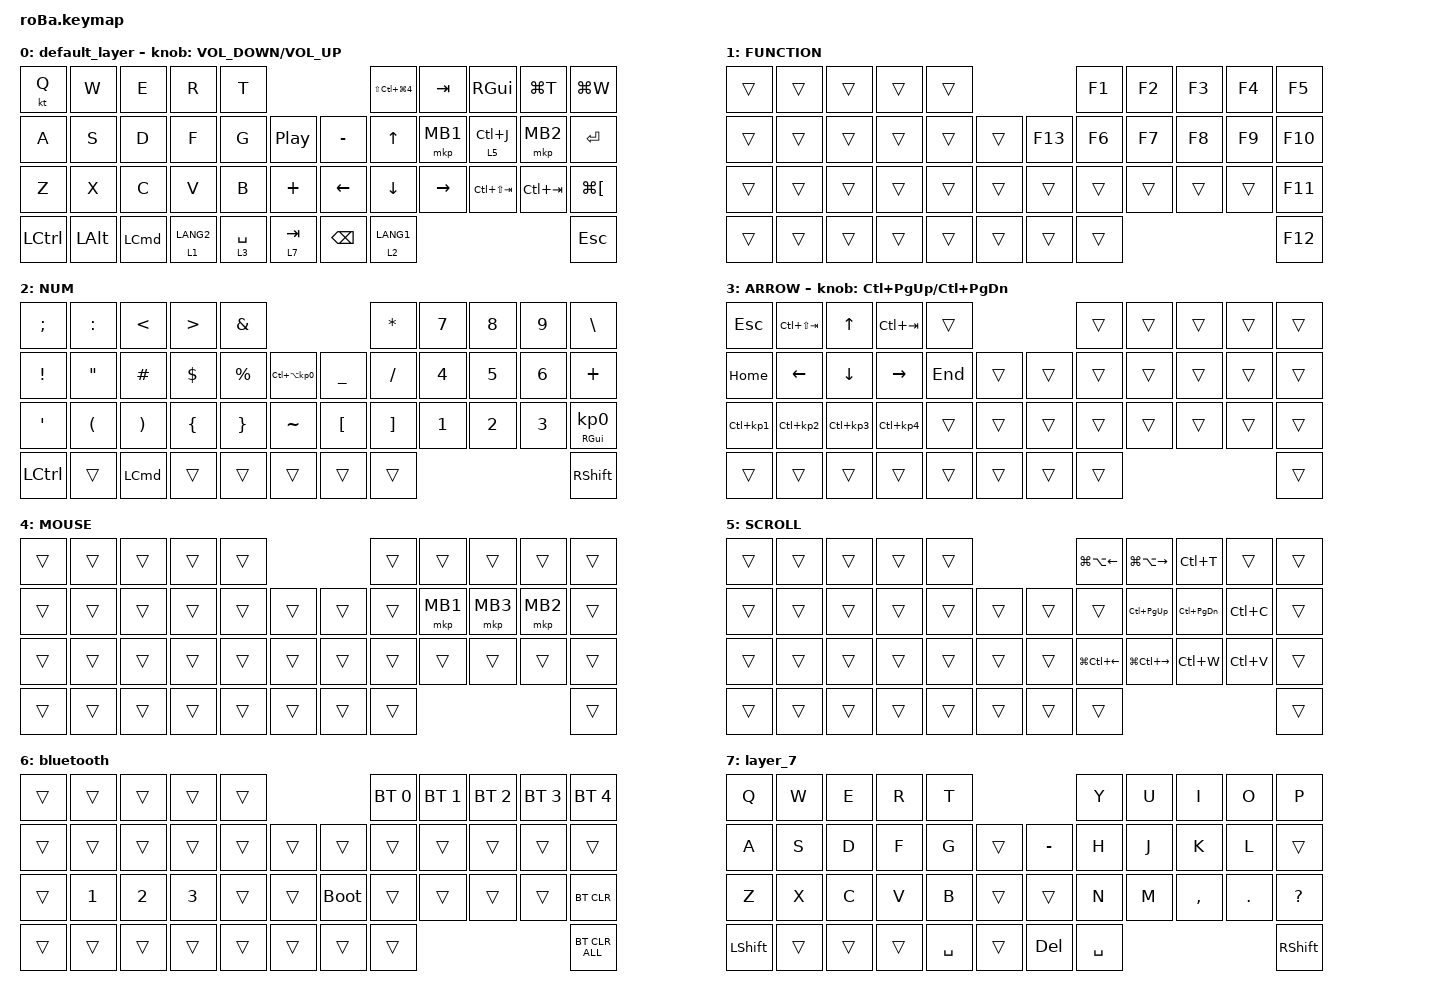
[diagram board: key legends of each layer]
#include <behaviors.dtsi>
#include <dt-bindings/zmk/bt.h>
#include <dt-bindings/zmk/keys.h>
#include <dt-bindings/zmk/pointing.h>

&mt {
    flavor = "balanced";
    quick-tap-ms = <0>;
};

&trackball {
    // automouse-layer = <4>;

    scroll-layers = <5>;

    // arrows {
    //     layers = <3>;
    //     bindings =
    //         <&kp RIGHT_ARROW>,
    //         <&kp LEFT_ARROW>,
    //         <&kp UP_ARROW>,
    //         <&kp DOWN_ARROW>;
    //     tick = <10>;
    //     wait-ms = <5>;
    //     tap-ms = <5>;
    // };
};

/ {
    combos {
        compatible = "zmk,combos";

        tab {
            bindings = <&kp TAB>;
            key-positions = <11 12>;
        };

        shift_tab {
            bindings = <&kp LS(TAB)>;
            key-positions = <12 13>;
        };

        muhennkann {
            bindings = <&to_layer_0 INT_MUHENKAN>;
            key-positions = <11 10>;
        };

        double_quotation {
            bindings = <&kp DOUBLE_QUOTES>;
            key-positions = <20 21>;
        };

        eq {
            bindings = <&kp EQUAL>;
            key-positions = <24 25>;
        };
    };

    macros {
        to_layer_0: to_layer_0 {
            compatible = "zmk,behavior-macro-one-param";
            #binding-cells = <1>;
            bindings = <&to 0 &macro_param_1to1 &kp MACRO_PLACEHOLDER>;
            label = "TO_LAYER_0";
        };
    };

    behaviors {
        lt_to_layer_0: lt_to_layer_0 {
            compatible = "zmk,behavior-hold-tap";
            label = "LAYER_TAP_TO_0";
            bindings = <&mo>, <&to_layer_0>;

            #binding-cells = <2>;
            tapping-term-ms = <200>;
        };
    };

    keymap {
        compatible = "zmk,keymap";

        default_layer {
            bindings = <
&kt Q      &kp W         &kp E             &kp R        &kp T                                                  &kp LS(LC(LG(NUMBER_4)))  &kp TAB          &kp RIGHT_GUI    &kp LG(T)    &kp LG(W)
&kp A      &kp S         &kp D             &kp F        &kp G        &kp C_PLAY_PAUSE          &kp MINUS       &kp UP_ARROW              &mkp MB1         &lt 5 LC(J)      &mkp MB2     &kp ENTER
&kp Z      &kp X         &kp C             &kp V        &kp B        &kp PLUS                  &kp LEFT_ARROW  &kp DOWN_ARROW            &kp RIGHT_ARROW  &kp LC(LS(TAB))  &kp LC(TAB)  &kp LG(LEFT_BRACKET)
&kp LCTRL  &kp LEFT_ALT  &kp LEFT_COMMAND  &lt 1 LANG2  &lt 3 SPACE  &lt_to_layer_0 7 TAB      &kp BACKSPACE   &lt 2 LANG1                                                              &kp ESC
            >;

            sensor-bindings = <&inc_dec_kp C_VOLUME_DOWN C_VOLUME_UP>;
        };

        FUNCTION {
            bindings = <
&trans  &trans  &trans  &trans  &trans                       &kp F1  &kp F2  &kp F3  &kp F4  &kp F5
&trans  &trans  &trans  &trans  &trans  &trans      &kp F13  &kp F6  &kp F7  &kp F8  &kp F9  &kp F10
&trans  &trans  &trans  &trans  &trans  &trans      &trans   &trans  &trans  &trans  &trans  &kp F11
&trans  &trans  &trans  &trans  &trans  &trans      &trans   &trans                          &kp F12
            >;
        };

        NUM {
            bindings = <
&kp SEMI          &kp COLON             &kp LESS_THAN          &kp GREATER_THAN  &kp AMPERSAND                                                   &kp ASTRK          &kp N7  &kp N8  &kp N9  &kp BACKSLASH
&kp EXCLAMATION   &kp DOUBLE_QUOTES     &kp HASH               &kp DOLLAR        &kp PERCENT      &kp LC(LA(KP_NUMBER_0))      &kp UNDERSCORE    &kp SLASH          &kp N4  &kp N5  &kp N6  &kp PLUS
&kp SQT           &kp LEFT_PARENTHESIS  &kp RIGHT_PARENTHESIS  &kp LEFT_BRACE    &kp RIGHT_BRACE  &kp TILDE                    &kp LEFT_BRACKET  &kp RIGHT_BRACKET  &kp N1  &kp N2  &kp N3  &mt RIGHT_GUI KP_N0
&kp LEFT_CONTROL  &trans                &kp LEFT_COMMAND       &trans            &trans           &trans                       &trans            &trans                                     &kp RIGHT_SHIFT
            >;
        };

        ARROW {
            bindings = <
&kp ESCAPE           &kp LC(LS(TAB))      &kp UP_ARROW         &kp LC(TAB)          &trans                       &trans  &trans  &trans  &trans  &trans
&kp HOME             &kp LEFT_ARROW       &kp DOWN_ARROW       &kp RIGHT_ARROW      &kp END  &trans      &trans  &trans  &trans  &trans  &trans  &trans
&kp LC(KP_NUMBER_1)  &kp LC(KP_NUMBER_2)  &kp LC(KP_NUMBER_3)  &kp LC(KP_NUMBER_4)  &trans   &trans      &trans  &trans  &trans  &trans  &trans  &trans
&trans               &trans               &trans               &trans               &trans   &trans      &trans  &trans                          &trans
            >;

            sensor-bindings = <&inc_dec_kp LC(PAGE_UP) LC(PAGE_DOWN)>;
        };

        MOUSE {
            bindings = <
&trans  &trans  &trans  &trans  &trans                      &trans  &trans    &trans    &trans    &trans
&trans  &trans  &trans  &trans  &trans  &trans      &trans  &trans  &mkp MB1  &mkp MB3  &mkp MB2  &trans
&trans  &trans  &trans  &trans  &trans  &trans      &trans  &trans  &trans    &trans    &trans    &trans
&trans  &trans  &trans  &trans  &trans  &trans      &trans  &trans                                &trans
            >;
        };

        SCROLL {
            bindings = <
&trans  &trans  &trans  &trans  &trans                      &kp LG(LA(LEFT))  &kp LG(LA(RIGHT))  &kp LC(T)          &trans     &trans
&trans  &trans  &trans  &trans  &trans  &trans      &trans  &trans            &kp LC(PAGE_UP)    &kp LC(PAGE_DOWN)  &kp LC(C)  &trans
&trans  &trans  &trans  &trans  &trans  &trans      &trans  &kp LG(LC(LEFT))  &kp LG(LC(RIGHT))  &kp LC(W)          &kp LC(V)  &trans
&trans  &trans  &trans  &trans  &trans  &trans      &trans  &trans                                                             &trans
            >;
        };

        bluetooth {
            bindings = <
&trans  &trans        &trans        &trans        &trans                           &bt BT_SEL 0  &bt BT_SEL 1  &bt BT_SEL 2  &bt BT_SEL 3  &bt BT_SEL 4
&trans  &trans        &trans        &trans        &trans  &trans      &trans       &trans        &trans        &trans        &trans        &trans
&trans  &kp NUMBER_1  &kp NUMBER_2  &kp NUMBER_3  &trans  &trans      &bootloader  &trans        &trans        &trans        &trans        &bt BT_CLR
&trans  &trans        &trans        &trans        &trans  &trans      &trans       &trans                                                  &bt BT_CLR_ALL
            >;
        };

        layer_7 {
            bindings = <
&kp Q           &kp W   &kp E   &kp R   &kp T                             &kp Y      &kp U  &kp I      &kp O       &kp P
&kp A           &kp S   &kp D   &kp F   &kp G      &trans      &kp MINUS  &kp H      &kp J  &kp K      &kp L       &trans
&kp Z           &kp X   &kp C   &kp V   &kp B      &trans      &trans     &kp N      &kp M  &kp COMMA  &kp PERIOD  &kp QUESTION
&kp LEFT_SHIFT  &trans  &trans  &trans  &kp SPACE  &trans      &kp DEL    &kp SPACE                                &kp RIGHT_SHIFT
            >;
        };
    };
};
